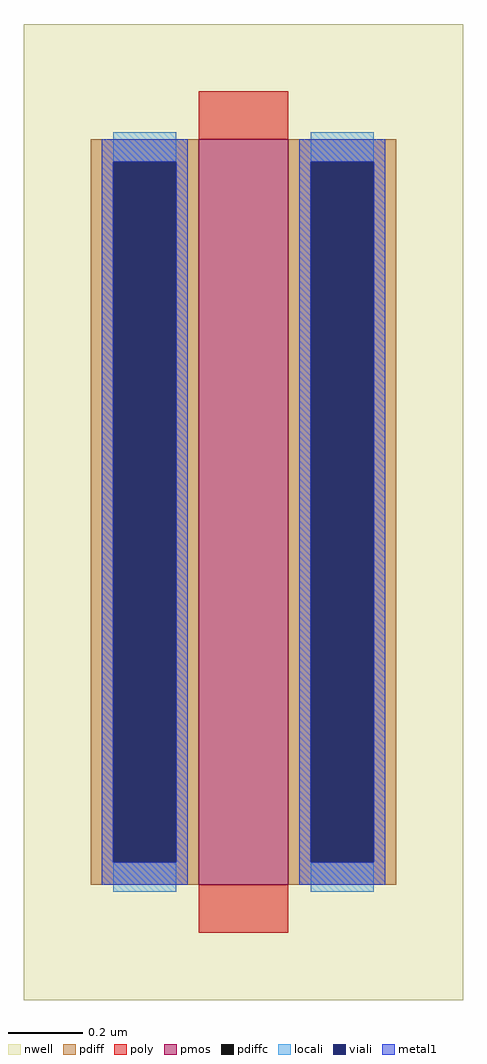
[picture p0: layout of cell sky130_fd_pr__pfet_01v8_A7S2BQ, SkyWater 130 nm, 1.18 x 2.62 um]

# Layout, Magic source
magic
tech sky130A
<< nwell >>
rect -59 -131 59 131
<< pmos >>
rect -12 -100 12 100
<< pdiff >>
rect -41 94 -12 100
rect -41 -94 -35 94
rect -18 -94 -12 94
rect -41 -100 -12 -94
rect 12 94 41 100
rect 12 -94 18 94
rect 35 -94 41 94
rect 12 -100 41 -94
<< pdiffc >>
rect -35 -94 -18 94
rect 18 -94 35 94
<< poly >>
rect -12 100 12 113
rect -12 -113 12 -100
<< locali >>
rect -35 94 -18 102
rect -35 -102 -18 -94
rect 18 94 35 102
rect 18 -102 35 -94
<< viali >>
rect -35 -94 -18 94
rect 18 -94 35 94
<< metal1 >>
rect -38 94 -15 100
rect -38 -94 -35 94
rect -18 -94 -15 94
rect -38 -100 -15 -94
rect 15 94 38 100
rect 15 -94 18 94
rect 35 -94 38 94
rect 15 -100 38 -94
<< properties >>
string gencell sky130_fd_pr__pfet_01v8
string library sky130
string parameters w 2 l 0.24 m 1 nf 1 diffcov 100 polycov 100 guard 0 glc 0 grc 0 gtc 0 gbc 0 tbcov 100 rlcov 100 topc 0 botc 0 poverlap 0 doverlap 0 lmin 0.15 wmin 0.42 compatible {sky130_fd_pr__pfet_01v8  sky130_fd_pr__pfet_01v8_lvt sky130_fd_pr__pfet_01v8_hvt  sky130_fd_pr__pfet_g5v0d10v5} full_metal 0 viasrc 100 viadrn 100 viagate 100 viagb 0 viagr 0 viagl 0 viagt 0
<< end >>
